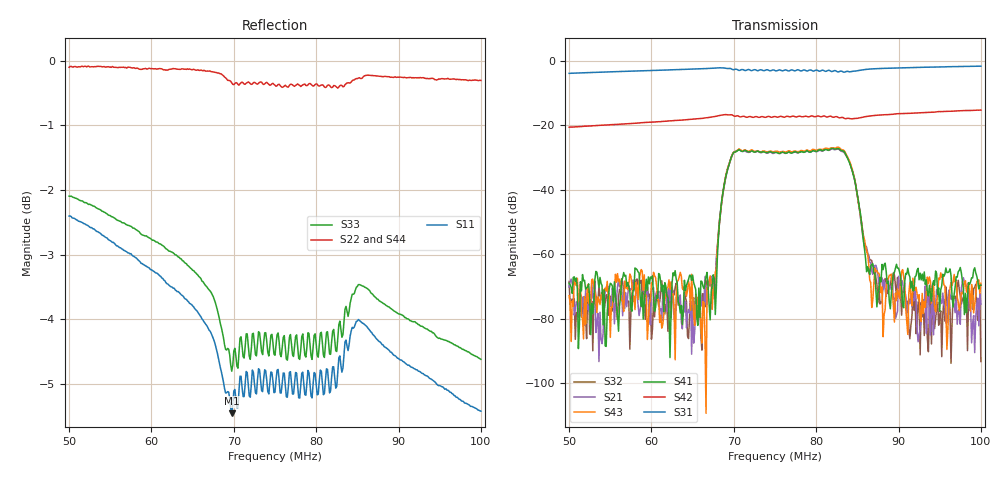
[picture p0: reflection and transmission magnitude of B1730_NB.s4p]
#  HZ  S  RI  R  50.0000
! Rohde & Schwarz ZVA/B
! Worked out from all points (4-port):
!   401 points, 50 MHz to 100 MHz, reference 50 ohm
!   strongest paths, dB at 50 MHz, 62.5 MHz, 75 MHz, 87.5 MHz, 100 MHz:
!     S31: -3.9, -2.8, -3.0, -2.4, -1.7
!     S42: -20.6, -18.6, -17.3, -16.9, -15.3
!     S41: -69.0, -69.0, -28.4, -72.0, -69.7
!     S43: -72.9, -72.8, -28.1, -65.9, -69.0
!     S21: -70.2, -70.2, -28.5, -66.5, -75.6
!     S32: -68.5, -74.2, -28.4, -75.1, -93.3
!   lowest |S11| = -5.5 dB at 69.75 MHz (marker M1), VSWR 3.29, Z = 55 - j66 ohm
!   |S11| at or under -10 dB: nowhere
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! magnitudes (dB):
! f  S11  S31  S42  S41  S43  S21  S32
! 50 MHz  -2.4  -3.9  -20.6  -69.0  -72.9  -70.2  -68.5
! 65.88 MHz  -3.9  -2.5  -17.9  -79.6  -74.1  -78.6  -76.5
! 67.62 MHz  -4.3  -2.2  -17.3  -67.7  -70.3  -73.8  -70.1
! 69.75 MHz  -5.5  -2.6  -16.8  -29.6  -29.5  -29.7  -29.5
! 83.25 MHz  -4.8  -3.4  -17.6  -28.0  -27.7  -28.3  -28.0
! 88.12 MHz  -4.4  -2.3  -16.8  -64.8  -85.6  -71.1  -68.2
! 100 MHz  -5.4  -1.7  -15.3  -69.7  -69.0  -75.6  -93.3
